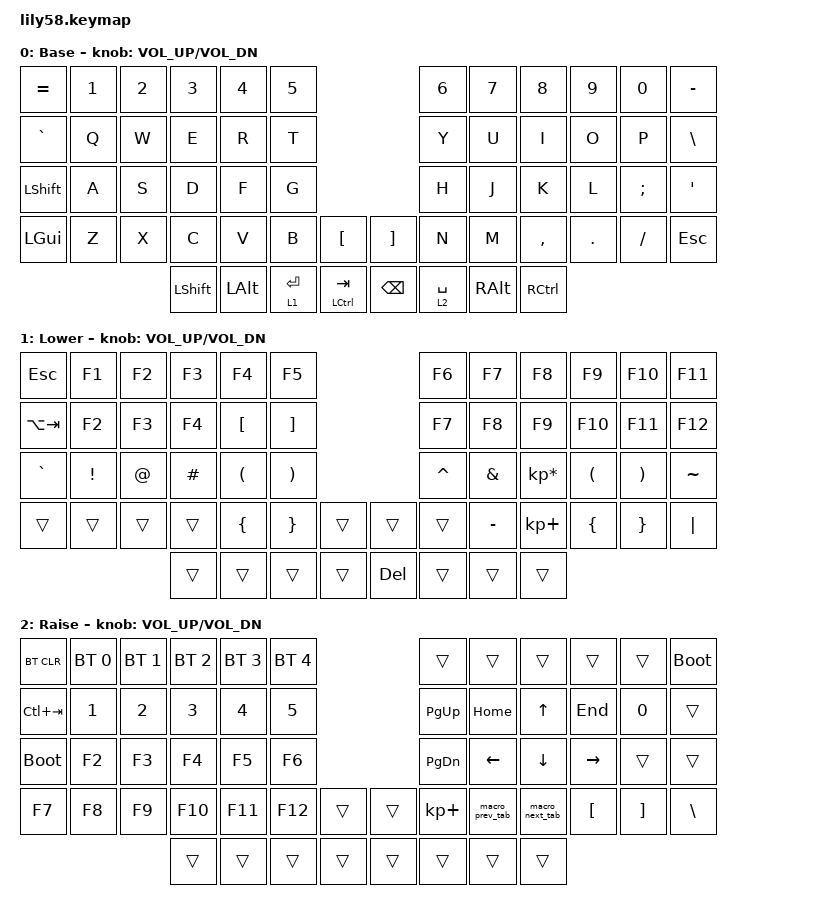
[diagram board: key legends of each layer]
/*
 * Copyright (c) 2020 The ZMK Contributors
 *
 * SPDX-License-Identifier: MIT
 */

#include <behaviors.dtsi>
#include <dt-bindings/zmk/bt.h>
#include <dt-bindings/zmk/keys.h>

/ {
    combos {
        compatible = "zmk,combos";

        combo_tab {
            bindings = <&kp TAB>;
            key-positions = <12 13>;
        };

        combo_escape {
            bindings = <&kp ESCAPE>;
            key-positions = <0 1>;
        };
    };

    macros {
        macro_next_tab: macro_next_tab {
            compatible = "zmk,behavior-macro";
            #binding-cells = <0>;
            bindings = <&kp LC(TAB)>, <&macro_press>;

            label = "MACRO_NEXT_TAB";
        };

        macro_prev_tab: macro_prev_tab {
            compatible = "zmk,behavior-macro";
            #binding-cells = <0>;
            bindings = <&kp LC(LS(TAB))>, <&macro_press>;

            label = "MACRO_PREV_TAB";
        };
    };

    keymap {
        compatible = "zmk,keymap";

        default_layer {
            // ------------------------------------------------------------------------------------------------------------
            // |  ESC  |  1  |  2  |  3   |  4   |  5   |                   |  6   |  7    |  8    |  9   |   0   |   `   |
            // |  TAB  |  Q  |  W  |  E   |  R   |  T   |                   |  Y   |  U    |  I    |  O   |   P   |   -   |
            // |  CTRL |  A  |  S  |  D   |  F   |  G   |                   |  H   |  J    |  K    |  L   |   ;   |   '   |
            // | SHIFT |  Z  |  X  |  C   |  V   |  B   |   "["  |  |  "]"  |  N   |  M    |  ,    |  .   |   /   | SHIFT |
            //                     | ALT  | GUI  | LOWER|  SPACE |  | ENTER | RAISE| BSPC  | GUI   |

            display-name = "Base";
            bindings = <
&kp EQUAL       &kp N1  &kp N2  &kp N3          &kp N4        &kp N5                                       &kp N6       &kp N7         &kp N8     &kp N9   &kp N0    &kp MINUS
&kp GRAVE       &kp Q   &kp W   &kp E           &kp R         &kp T                                        &kp Y        &kp U          &kp I      &kp O    &kp P     &kp BACKSLASH
&kp LEFT_SHIFT  &kp A   &kp S   &kp D           &kp F         &kp G                                        &kp H        &kp J          &kp K      &kp L    &kp SEMI  &kp SQT
&kp LEFT_GUI    &kp Z   &kp X   &kp C           &kp V         &kp B        &kp LBKT         &kp RBKT       &kp N        &kp M          &kp COMMA  &kp DOT  &kp FSLH  &kp ESCAPE
                                &kp LEFT_SHIFT  &kp LEFT_ALT  &lt 1 ENTER  &mt LCTRL TAB    &kp BACKSPACE  &lt 2 SPACE  &kp RIGHT_ALT  &kp RCTRL
            >;

            sensor-bindings = <&inc_dec_kp C_VOL_UP C_VOL_DN>;
        };

        lower_layer {
            // ------------------------------------------------------------------------------------------------------------
            // | BTCLR | BT1 | BT2 |  BT3 |  BT4 |  BT5 |                   |      |       |       |      |       |       |
            // |  F1   |  F2 |  F3 |  F4  |  F5  |  F6  |                   |  F7  |  F8   |  F9   |  F10 |  F11  |  F12  |
            // |   `   |  !  |  @  |  #   |  $   |  %   |                   |  ^   |  &    |  *    |  (   |   )   |   ~   |
            // |       |     |     |      |      |      |        |  |       |      |  _    |  +    |  {   |   }   |  "|"  |
            //                     |      |      |      |        |  |       |      |       |       |

            display-name = "Lower";
            bindings = <
&kp ESC      &kp F1    &kp F2  &kp F3    &kp F4                &kp F5                                    &kp F6     &kp F7     &kp F8           &kp F9    &kp F10   &kp F11
&kp LA(TAB)  &kp F2    &kp F3  &kp F4    &kp LBKT              &kp RIGHT_BRACKET                         &kp F7     &kp F8     &kp F9           &kp F10   &kp F11   &kp F12
&kp GRAVE    &kp EXCL  &kp AT  &kp HASH  &kp LEFT_PARENTHESIS  &kp RIGHT_PARENTHESIS                     &kp CARET  &kp AMPS   &kp KP_MULTIPLY  &kp LPAR  &kp RPAR  &kp TILDE
&trans       &trans    &trans  &trans    &kp LEFT_BRACE        &kp RIGHT_BRACE        &trans    &trans   &trans     &kp MINUS  &kp KP_PLUS      &kp LBRC  &kp RBRC  &kp PIPE
                               &trans    &trans                &trans                 &trans    &kp DEL  &trans     &trans     &trans
            >;

            sensor-bindings = <&inc_dec_kp C_VOL_UP C_VOL_DN>;
        };

        raise_layer {
            // ------------------------------------------------------------------------------------------------------------
            // |       |     |     |      |      |      |                   |      |       |       |      |       |       |
            // |   `   |  1  |  2  |  3   |  4   |  5   |                   |  6   |   7   |   8   |  9   |   0   |       |
            // |   F1  |  F2 |  F3 |  F4  |  F5  |  F6  |                   |      |   <-  |   v   |  ^   |  ->   |       |
            // |   F7  |  F8 |  F9 |  F10 |  F11 |  F12 |        |  |       |  +   |   -   |   =   |  [   |   ]   |   \   |
            //                     |      |      |      |        |  |       |      |       |       |

            display-name = "Raise";
            bindings = <
&bt BT_CLR   &bt BT_SEL 0  &bt BT_SEL 1  &bt BT_SEL 2  &bt BT_SEL 3  &bt BT_SEL 4                    &trans         &trans           &trans           &trans     &trans    &bootloader
&kp LC(TAB)  &kp N1        &kp N2        &kp N3        &kp N4        &kp N5                          &kp PG_UP      &kp HOME         &kp UP_ARROW     &kp END    &kp N0    &trans
&bootloader  &kp F2        &kp F3        &kp F4        &kp F5        &kp F6                          &kp PAGE_DOWN  &kp LEFT         &kp DOWN         &kp RIGHT  &trans    &trans
&kp F7       &kp F8        &kp F9        &kp F10       &kp F11       &kp F12       &trans    &trans  &kp KP_PLUS    &macro_prev_tab  &macro_next_tab  &kp LBKT   &kp RBKT  &kp BSLH
                                         &trans        &trans        &trans        &trans    &trans  &trans         &trans           &trans
            >;

            sensor-bindings = <&inc_dec_kp C_VOL_UP C_VOL_DN>;
        };

        extra_1 { status = "reserved"; };

        extra_2 { status = "reserved"; };

        extra_3 { status = "reserved"; };
    };
};
